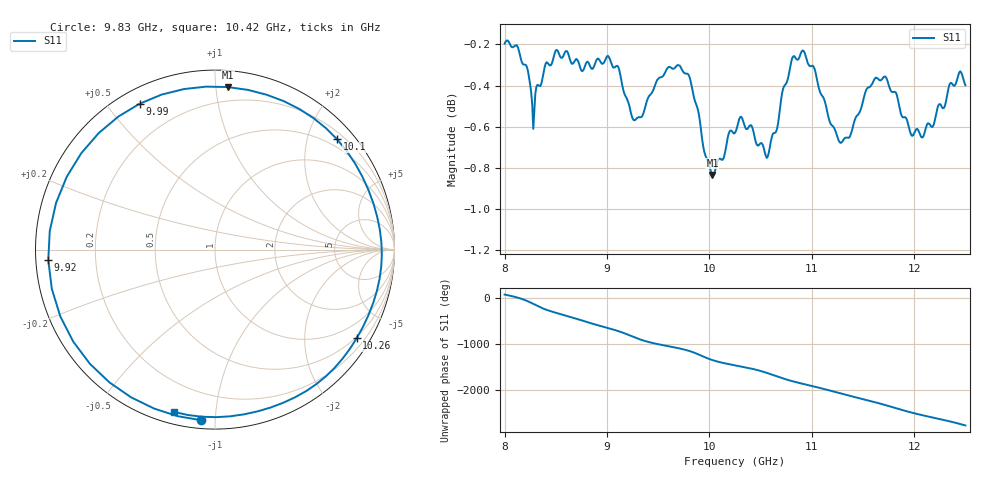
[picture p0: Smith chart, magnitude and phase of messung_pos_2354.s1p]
#  HZ  S  RI  R  50.00
! Rohde & Schwarz Vector Network Analyzer
! Rohde-Schwarz,ZNA43-4Port,1332450044101932,2.92
! Created: UTC 6/1/2026, 11:34:39 AM
! freq[Hz]  re:S11  im:S11
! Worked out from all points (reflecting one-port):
!   451 points, 8 GHz to 12.5 GHz, reference 50 ohm
!   lowest |S11| = -0.8 dB at 10.03 GHz (marker M1), VSWR 20.83, Z = 5.19 + j53.8 ohm
!   phase of S11 starts at 72 deg and turns -2849 deg over the sweep
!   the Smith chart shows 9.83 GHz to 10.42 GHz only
!   S11 on the Smith chart (normalised r, x): 9.83 GHz: 0.04, -0.92; 9.92 GHz: 0.04, -0.03; 9.99 GHz: 0.06, +0.61; 10.1 GHz: 0.33, +2.56; 10.26 GHz: 0.46, -3.43; 10.42 GHz: 0.06, -0.78
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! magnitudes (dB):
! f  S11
! 8 GHz  -0.2
! 8.21 GHz  -0.3
! 8.28 GHz  -0.6
! 8.41 GHz  -0.3
! 8.57 GHz  -0.3
! 9.01 GHz  -0.3
! 9.13 GHz  -0.3
! 9.28 GHz  -0.6
! 9.69 GHz  -0.3
! 9.83 GHz  -0.4
! 9.92 GHz  -0.6
! 9.99 GHz  -0.8
! 10.03 GHz  -0.8
! 10.1 GHz  -0.8
! 10.25 GHz  -0.6
! 10.26 GHz  -0.6
! 10.42 GHz  -0.6
! 10.57 GHz  -0.7
! 10.82 GHz  -0.3
! 11.02 GHz  -0.3
! 11.27 GHz  -0.7
! 11.38 GHz  -0.6
! 11.63 GHz  -0.4
! 11.72 GHz  -0.4
! 11.94 GHz  -0.6
! 12.08 GHz  -0.7
! 12.35 GHz  -0.4
! 12.5 GHz  -0.4
